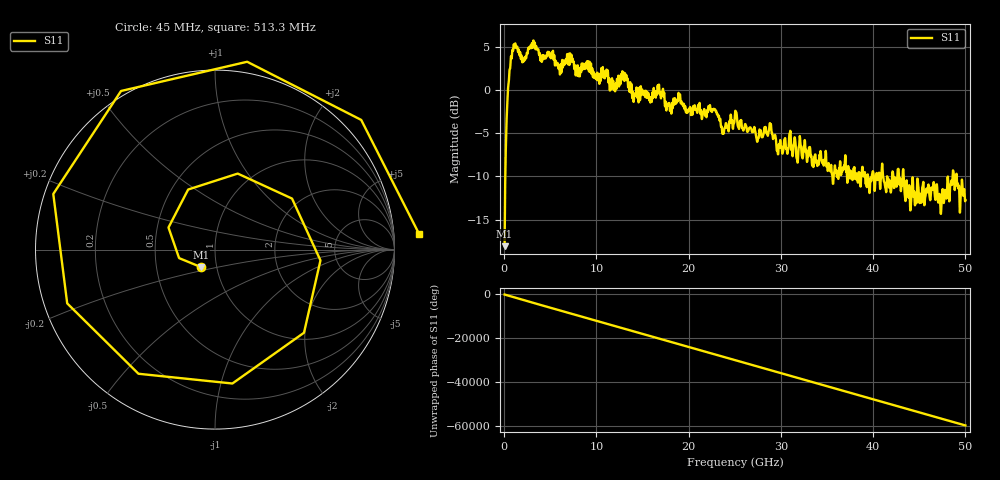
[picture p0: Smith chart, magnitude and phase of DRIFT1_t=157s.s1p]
!Created with skrf (http://scikit-rf.org).
# Hz S RI R 50.0
!freq ReS11 ImS11
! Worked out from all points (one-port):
!   1601 points, 45 MHz to 50 GHz, reference 50 ohm
!   lowest |S11| = -18.1 dB at 45 MHz (marker M1), VSWR 1.29, Z = 42 - j8.34 ohm
!   |S11| at or under -10 dB: 41.52 GHz to 42.06 GHz (537.7 MHz wide, 1.29 % of centre); 43.31 GHz to 48.61 GHz (5.299 GHz wide, 11.5 % of centre); 49.06 GHz to end of sweep (the widest 3 of 24)
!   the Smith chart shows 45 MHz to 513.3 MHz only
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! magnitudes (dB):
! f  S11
! 45 MHz  -18.1
! 450.9 MHz  0.5
! 981.7 MHz  4.7
! 2.168 GHz  3.7
! 3.23 GHz  4.9
! 6.289 GHz  3.5
! 7.195 GHz  3.3
! 7.975 GHz  2.9
! 12.53 GHz  1.5
! 13.03 GHz  1.0
! 14.09 GHz  -0.7
! 18.78 GHz  -1.1
! 22.81 GHz  -2.3
! 23.74 GHz  -4.9
! 25.02 GHz  -2.7
! 27.4 GHz  -5.8
! 28.86 GHz  -4.0
! 29.77 GHz  -6.3
! 31.27 GHz  -7.7
! 35.54 GHz  -9.8
! 37.51 GHz  -10.2
! 39.42 GHz  -9.8
! 42.69 GHz  -9.2
! 43.76 GHz  -11.3
! 46.69 GHz  -12.3
! 47.22 GHz  -12.1
! 48.84 GHz  -11.6
! 50 GHz  -12.8
